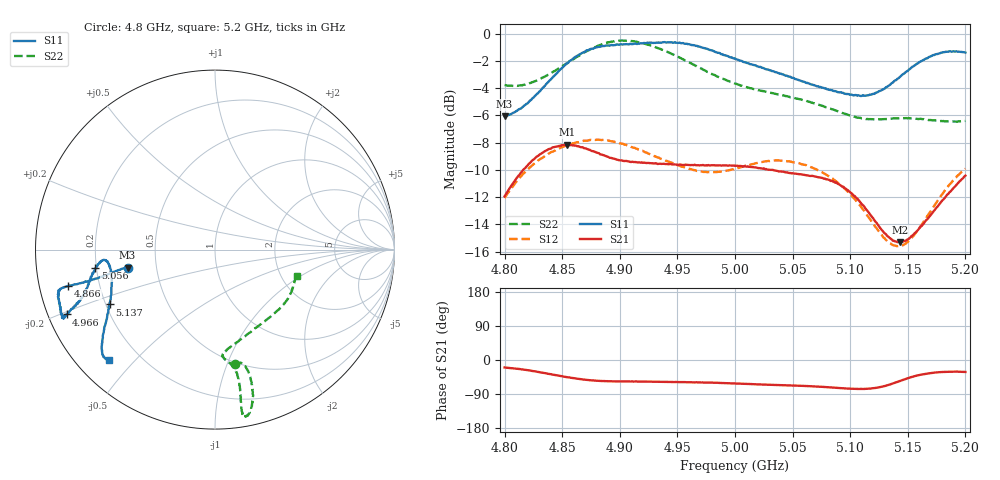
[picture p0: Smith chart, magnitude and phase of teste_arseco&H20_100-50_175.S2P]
! Network Analyzer HP8722D
! Hewlett-Packard
! Data name: Linha & Wilkinson
! Saver's name: Rodrigo Anjos
! Comments: Teste da utilização de aquisição
! continua pelo VNA HP8722D
! Time and date: 6/5/2025 14:01
!  Frequency  S11  S21  S12  S22
# HZ  S  MA R 50
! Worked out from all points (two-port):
!   401 points, 4.8 GHz to 5.2 GHz, reference 50 ohm
!   highest |S21| = -8.15 dB at 4.854 GHz (marker M1); lowest = -15.3 dB at 5.143 GHz (marker M2)
!   |S21| within 3 dB of the highest: 4.806 GHz to 5.092 GHz (286.1 MHz wide, 5.78 % of centre); 5.191755 GHz to end of sweep
!   lowest |S11| = -6.1 dB at 4.8 GHz (marker M3), VSWR 2.98, Z = 16.9 - j4.55 ohm
!   |S11| at or under -10 dB: nowhere
!   |S22| runs from -6.5 to -0.5 dB; largest |S21 - S12| = 0.62
!   S11 on the Smith chart (normalised r, x): 4.8 GHz: 0.34, -0.09; 4.866 GHz: 0.09, -0.12; 4.966 GHz: 0.05, -0.21; 5.056 GHz: 0.20, -0.07; 5.137 GHz: 0.22, -0.23; 5.2 GHz: 0.09, -0.42
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4.8e9  0.4972 -168.3  0.2529 -19.8  0.2491 -141.1  0.6482 -80.3
4.826e9  0.589 -167.4  0.3475 -29.8  0.3337 -144.7  0.6685 -75.7
4.854e9  0.7768 -166.0  0.3911 -45.3  0.3889 -150.1  0.7786 -74.8
4.866e9  0.8439 -166.1  0.3831 -50.5  0.4018 -152.1  0.8384 -75.3
4.867e9  0.8492 -166.1  0.3829 -50.9  0.4026 -152.3  0.8436 -75.5
4.88e9  0.8914 -165.5  0.3659 -54.8  0.4081 -154.3  0.8984 -76.8
4.9e9  0.9136 -162.7  0.343 -56.5  0.3958 -156.7  0.9426 -79.2
4.934e9  0.9294 -156.7  0.333 -57.6  0.3506 -155.8  0.8826 -80.5
4.966e9  0.9024 -156.4  0.329 -58.8  0.3143 -148.3  0.7628 -79.7
5e9  0.8117 -159.2  0.3271 -61.9  0.3199 -137.4  0.6565 -81.4
5.036e9  0.7225 -165.7  0.3139 -66.1  0.3425 -134.5  0.6005 -85.7
5.056e9  0.6739 -171.1  0.3048 -68.0  0.3339 -136.0  0.5751 -85.0
5.067e9  0.6505 -173.1  0.3006 -69.3  0.3225 -136.9  0.5583 -82.7
5.085e9  0.6177 -174.6  0.2865 -72.8  0.2931 -138.6  0.528 -75.8
5.101e9  0.598 -172.1  0.2596 -75.9  0.2548 -138.8  0.5003 -66.5
5.115e9  0.5946 -166.0  0.2234 -75.9  0.2144 -135.9  0.4865 -56.5
5.134e9  0.6474 -154.2  0.1781 -65.1  0.1703 -120.6  0.4875 -43.3
5.137e9  0.6617 -152.5  0.1736 -62.2  0.1675 -116.7  0.4887 -41.6
5.143e9  0.6935 -149.3  0.1713 -55.7  0.166 -108.8  0.4898 -38.0
5.154e9  0.757 -144.7  0.1813 -44.3  0.1795 -95.0  0.488 -32.3
5.173e9  0.8356 -139.2  0.2244 -33.2  0.2338 -81.0  0.4815 -24.2
5.2e9  0.8526 -133.8  0.3011 -31.5  0.3194 -77.0  0.4784 -17.6
